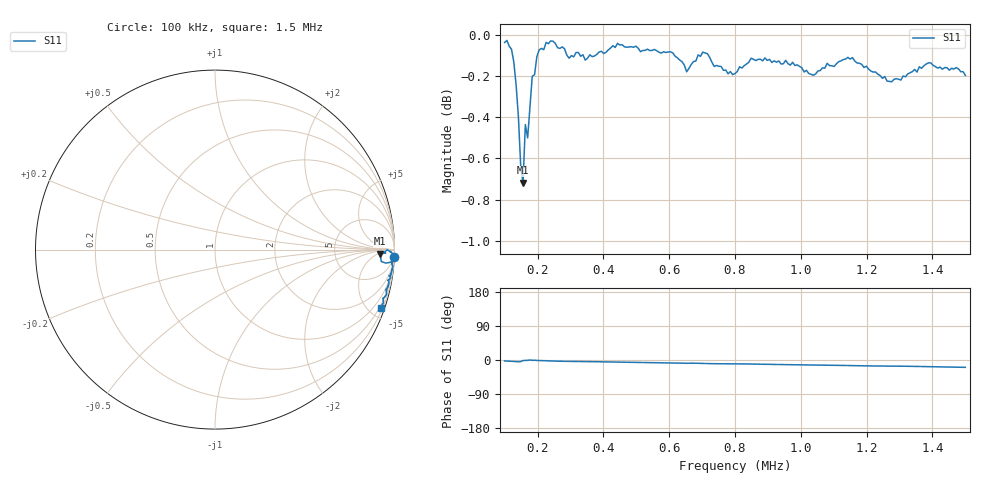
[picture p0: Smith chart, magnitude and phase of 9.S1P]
!Agilent Technologies,E5071C,MY46100305,A.07.02
!Date: Fri Jan 01 01:40:51 1988
!Data & Calibration Information:
!Freq	S11:SOLT1(ON)
# Hz S MA R 50
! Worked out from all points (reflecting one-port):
!   201 points, 100 kHz to 1.5 MHz, reference 50 ohm
!   lowest |S11| = -0.7 dB at 156 kHz (marker M1), VSWR 24.19, Z = 1.1e+03 - j341 ohm
!   phase of S11 starts at -2 deg and turns -17 deg over the sweep
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100000  0.9958 -2.4
121000  0.992 -3.4
142000  0.955 -4.5
149000  0.9289 -4.1
156000  0.9206 -1.5
163000  0.9511 -1.2
170000  0.944 -0.9
177000  0.9602 -0.0
184000  0.9772 -0.8
191000  0.978 -0.6
198000  0.988 -1.2
226000  0.9958 -1.9
275000  0.9934 -3.4
345000  0.9861 -4.2
450000  0.9944 -5.6
625000  0.9873 -8.4
653000  0.9796 -8.6
702000  0.9904 -9.0
730000  0.9848 -9.7
800000  0.9786 -10.0
849000  0.9871 -10.6
975000  0.9848 -12.5
1066000  0.9818 -13.3
1150000  0.9866 -14.7
1262000  0.9746 -16.2
1325000  0.9784 -16.6
1395000  0.9845 -17.6
1500000  0.9776 -19.3
